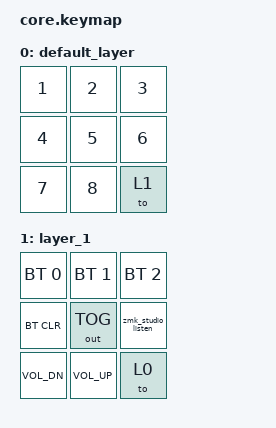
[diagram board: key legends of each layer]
#include <behaviors.dtsi>
#include <dt-bindings/zmk/keys.h>
#include <dt-bindings/zmk/bt.h>
#include <dt-bindings/zmk/outputs.h>

/ {
    keymap {
        compatible = "zmk,keymap";

        default_layer {
            bindings = <
                &kp NUM_1 &kp NUM_2 &kp NUM_3
                &kp NUM_4 &kp NUM_5 &kp NUM_6
                &kp NUM_7 &kp NUM_8 &to 1
            >;
        };

        layer_1 {
            bindings = <
                &bt BT_SEL 0 &bt BT_SEL 1 &bt BT_SEL 2
                &bt BT_CLR &out OUT_TOG &zmk_studio_listen
                &kp C_VOL_DN &kp C_VOL_UP &to 0
            >;
        };
    };
};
